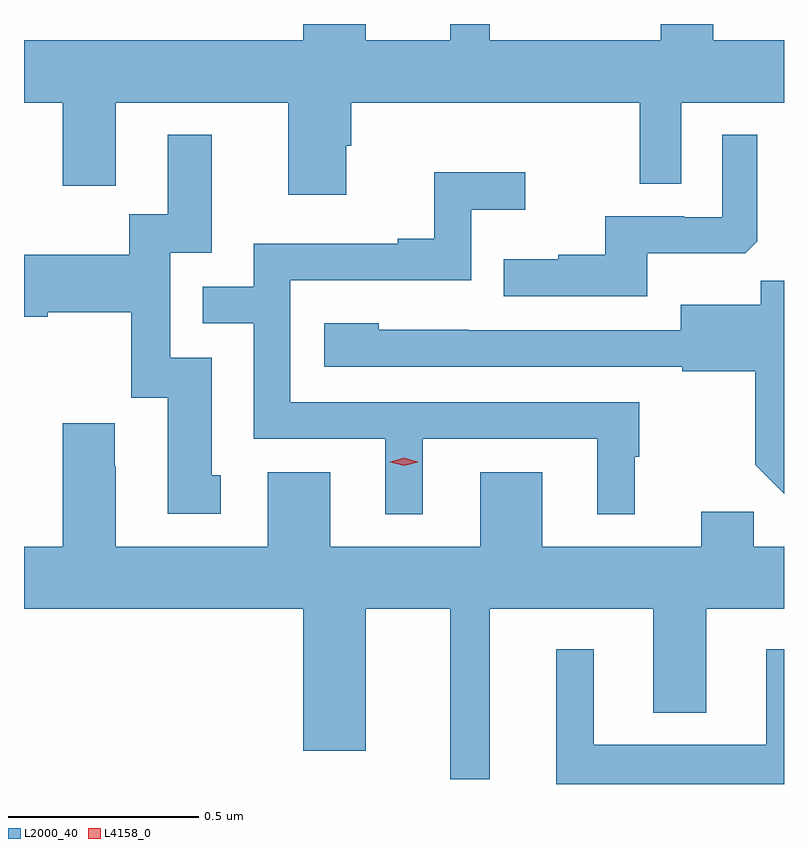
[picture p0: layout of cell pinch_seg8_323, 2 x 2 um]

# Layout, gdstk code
import gdstk
lib = gdstk.Library(unit=1e-6, precision=1e-09)
def P(c, l, *ps):  # polygons
    for p in ps: c.add(gdstk.Polygon(p, *l))
L2000_40 = (2000, 40)
L4158_0 = (4158, 0)

pinch_seg8_323 = lib.new_cell('pinch_seg8_323')
P(pinch_seg8_323, L2000_40, [(608.677,1136.367),(608.69,1136.367),(608.69,1136.48),(609.45,1136.48),(609.45,1136.266),(609.558,1136.266),(609.558,1136.48),(609.829,1136.48),(609.829,1136.644),(609.643,1136.644),(609.643,1136.687),(609.504,1136.687),(609.504,1136.644),(609.055,1136.644),(609.055,1136.687),(608.951,1136.687),(608.951,1136.644),(608.728,1136.644),(608.728,1136.687),(608.564,1136.687),(608.564,1136.644),(607.829,1136.644),(607.829,1136.48),(607.931,1136.48),(607.931,1136.262),(608.071,1136.262),(608.071,1136.48),(608.525,1136.48),(608.525,1136.238),(608.677,1136.238)],
  [(609.469,1136.084),(609.727,1136.084),(609.759,1136.115),(609.759,1136.395),(609.666,1136.395),(609.666,1136.178),(609.566,1136.178),(609.566,1136.181),(609.359,1136.181),(609.359,1136.08),(609.235,1136.08),(609.235,1136.068),(609.091,1136.068),(609.091,1135.971),(609.469,1135.971)],
  [(608.347,1135.5),(608.323,1135.5),(608.323,1135.809),(608.214,1135.809),(608.214,1136.085),(608.323,1136.085),(608.323,1136.395),(608.207,1136.395),(608.207,1136.186),(608.106,1136.186),(608.106,1136.08),(607.829,1136.08),(607.829,1135.916),(607.891,1135.916),(607.891,1135.928),(608.111,1135.928),(608.111,1135.704),(608.207,1135.704),(608.207,1135.398),(608.347,1135.398)],
  [(608.878,1135.596),(609.338,1135.596),(609.338,1135.397),(609.436,1135.397),(609.436,1135.548),(609.448,1135.548),(609.448,1135.692),(608.529,1135.692),(608.529,1136.013),(609.006,1136.013),(609.006,1136.198),(609.148,1136.198),(609.148,1136.297),(608.908,1136.297),(608.908,1136.122),(608.813,1136.122),(608.813,1136.109),(608.433,1136.109),(608.433,1135.995),(608.299,1135.995),(608.299,1135.899),(608.433,1135.899),(608.433,1135.596),(608.78,1135.596),(608.78,1135.397),(608.878,1135.397)],
  [(609.829,1136.012),(609.768,1136.012),(609.768,1135.948),(609.557,1135.948),(609.557,1135.881),(608.999,1135.881),(608.999,1135.882),(608.763,1135.882),(608.763,1135.9),(608.619,1135.9),(608.619,1135.785),(609.561,1135.785),(609.561,1135.773),(609.753,1135.773),(609.753,1135.527),(609.829,1135.451)],
  [(609.055,1135.148),(609.485,1135.148),(609.485,1134.875),(609.625,1134.875),(609.625,1135.148),(609.829,1135.148),(609.829,1135.312),(609.749,1135.312),(609.749,1135.403),(609.611,1135.403),(609.611,1135.312),(609.193,1135.312),(609.193,1135.507),(609.029,1135.507),(609.029,1135.312),(608.635,1135.312),(608.635,1135.507),(608.471,1135.507),(608.471,1135.312),(608.071,1135.312),(608.071,1135.523),(608.068,1135.523),(608.068,1135.636),(607.931,1135.636),(607.931,1135.312),(607.829,1135.312),(607.829,1135.148),(608.564,1135.148),(608.564,1134.774),(608.728,1134.774),(608.728,1135.148),(608.951,1135.148),(608.951,1134.699),(609.055,1134.699)],
  [(609.829,1135.042),(609.782,1135.042),(609.782,1134.79),(609.328,1134.79),(609.328,1135.042),(609.23,1135.042),(609.23,1134.687),(609.829,1134.687)])
P(pinch_seg8_323, L4158_0, [(608.829,1135.525),(608.793,1135.534),(608.793,1135.535),(608.793,1135.535),(608.829,1135.545),(608.865,1135.535),(608.865,1135.535),(608.865,1135.534)])

lib.write_gds('pinch_seg8_323.gds')
